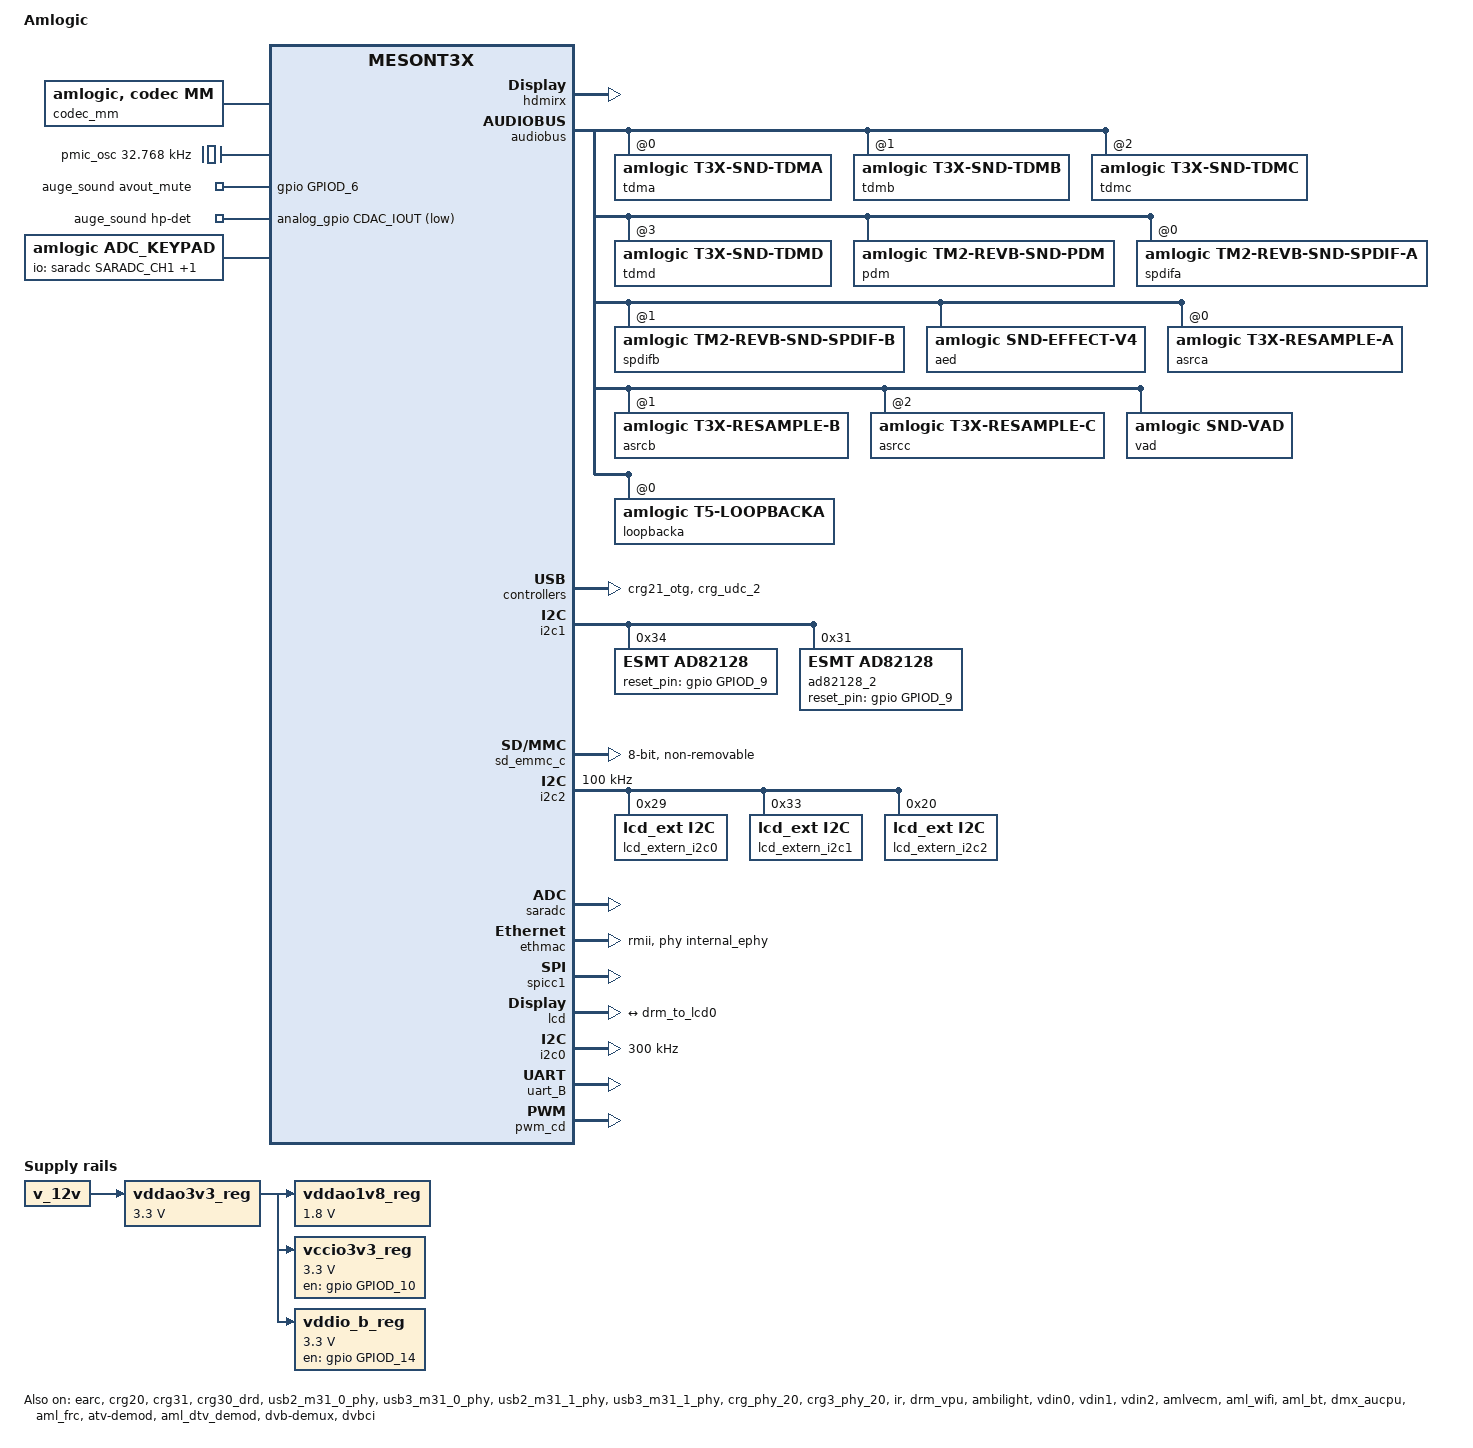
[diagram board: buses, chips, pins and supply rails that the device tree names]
// SPDX-License-Identifier: (GPL-2.0+ OR MIT)
/*
 * Copyright (c) 2019 Amlogic, Inc. All rights reserved.
 */

/dts-v1/;

#include "mesont3x.dtsi"
#include "partition_mbox_ab.dtsi"
#include "mesont3x_drm_multidisplay.dtsi"
#include "mesont3x_bc302_multidisplay-panel.dtsi"
#include <dt-bindings/input/input.h>

/ {
	model = "Amlogic";
	amlogic-dt-id = "t3x_t968d4_bc302-multidisplay";
	compatible = "t3x_t968d4_bc302-multidisplay";
	interrupt-parent = <&gic>;
	#address-cells = <2>;
	#size-cells = <2>;

	aliases {
		serial0 = &uart_B;
		serial1 = &uart_A;
		serial2 = &uart_C;
		serial3 = &uart_D;
		i2c0 = &i2c0;
		i2c1 = &i2c1;
		i2c2 = &i2c2;
		i2c3 = &i2c3;
		i2c4 = &i2c4;
		spi0 = &spifc;
		spi1 = &spicc0;
		spi2 = &spicc1;
		spi3 = &spicc2;
		spi4 = &spicc3;
		spi5 = &spicc4;
		spi6 = &spicc5;
		tsensor0 = &cpu_tsensor;
		tsensor1 = &gpu_tsensor;
		tsensor2 = &vpu_tsensor;
		tsensor3 = &dos_tsensor;
		tsensor4 = &nna_tsensor;
	};

	memory@00000000 {
		device_type = "memory";
		linux,usable-memory = <0x00000000 0x00000000 0x00000000 0xe0000000
					0x00000001 0x00000000 0x00000000 0x20000000>;
	};

	reserved-memory {
		#address-cells = <2>;
		#size-cells = <2>;
		ranges;

		/* global autoconfigured region for contiguous allocations */

		ramdump_bl33z@00000000 {
			reg = <0x0 0x0 0x0 0x1800000>; /* 0 ~ 24M */
			status = "disabled";
		};

		ramoops@0x08400000 {
			compatible = "ramoops";
			reg = <0x0 0x08400000 0x0 0x00100000>;
			record-size = <0x20000>;
			console-size = <0x40000>;
			ftrace-size = <0x80000>;
			pmsg-size = <0x10000>;
			bconsole-size = <0x10000>;
		};

		linux,above_4g_mem {
			compatible = "shared-dma-pool";
			reusable;
			size = <0x0 0x8000000>;
			alignment = <0x0 0x400000>;
			alloc-ranges = <0x1 0x0000000 0x0 0x8000000>;
		};

		dmc_reserved:linux,dmc_monitor {
			compatible = "amlogic,dmc_monitor-reserved";
			reg = <0x0 0x0 0x0 0x80000>;
		};

		debug_reserved:linux,iotrace {
			compatible = "amlogic, iotrace";
			reg = <0x0 0x04f00000 0x0 0x00100000>;
			io-size = <0x1b000>;
			sched-size = <0x2000>;
			irq-size = <0x1000>;
			smc-size = <0x1000>;
			misc-size = <0x1000>;
		};

		secmon_reserved:linux,secmon {
			compatible = "shared-dma-pool";
			/*reusable;*/
			no-map;
			alignment = <0x0 0x400000>;
			reg = <0x0 0x05000000 0x0 0x3400000>;
		};

		dsp_fw_reserved:linux,dsp_fw {
			compatible = "amlogic, dsp";
			size = <0x0 0x800000>;
			reg = <0x0 0x30000000 0x0 0x800000>;
		};

		/*dsp_shm_reserved:linux,dsp_shm {      */
		/*	compatible = "dspshmem";            */
		/*	reg = <0x0 0x40820000 0x0 0x80000>; */
		/*	size = <0x80000>;                   */
		/*};*/

		logo_reserved:linux,meson-fb {
			compatible = "amlogic, meson-fb";
			size = <0x0 0x800000>;
			alignment = <0x0 0x400000>;
			reg = <0x0 0xdf800000 0x0 0x800000>;
		};


		codec_mm_cma:linux,codec_mm_cma {
			compatible = "shared-dma-pool";
			reusable;
			/*Primary + Secondary + PIP based on BDS/ASOP: max scenario need 692MB*/
			size = <0x0 0x2b400000>;
			alignment = <0x0 0x400000>;
			alloc-ranges = <0x0 0x0 0x0 0xe0000000>;
			linux,contiguous-region;
			clear-map;
		};

		/*di CMA pool */
		di_cma_reserved:linux,di_cma {
			compatible = "shared-dma-pool";
			reusable;
			/* buffer_size = 3621952(yuv422 8bit)
			 *  | 4736064(yuv422 10bit)
			 *  | 4074560(yuv422 10bit full pack mode)
			 * 10x3621952=34.6M(0x23) support 8bit
			 * 10x4736064=45.2M(0x2e) support 12bit
			 * 10x4074560=40M(0x28) support 10bit
			 */
			//size = <0x0 0x0>;
			size = <0x0 0x400000>;
			//size = <0x0 0x0>;
			alignment = <0x0 0x400000>;
			alloc-ranges = <0x0 0x0 0x0 0xe0000000>;
		};

		/*  POST PROCESS MANAGER */
		ppmgr_reserved:linux,ppmgr {
			compatible = "shared-dma-pool";
			size = <0x0 0x0>;
		};

		camera_cma_reserved:linux,camera_cma {
			compatible = "shared-dma-pool";
			reusable;
			status = "disabled";
			size = <0x0 0x0>;
			//size = <0x0 0xB000000>;
			alignment = <0x0 0x400000>;
		};

		ion_cma_reserved:linux,ion-dev {
			compatible = "shared-dma-pool";
			reusable;
			size = <0x0 0x0>;
			//size = <0x0 0x5000000>;
			alignment = <0x0 0x400000>;
		};

		ion_fb_reserved:linux,ion-fb {
			compatible = "shared-dma-pool";
			reusable;
			/* 3840x2160x4x4 round up 4M align */
			size = <0x0 0x0>;
			//size = <0x0 0x8400000>;
			alignment = <0x0 0x400000>;
			alloc-ranges = <0x0 0x0 0x0 0xe0000000>;
		};
		/* secure ion for gpu,advice size is 0x1c800000 */
		ion_secure_reserved:linux,ion-secure {
			compatible = "amlogic, ion-secure-mem";
			no-map;
			size = <0x0 0x0>;
			alignment = <0x0 0x400000>;
		};

		/* codec shared reserved */
		codec_mm_reserved:linux,codec_mm_reserved {
			compatible = "amlogic, codec-mm-reserved";
			size = <0x0 0x0>;
			alignment = <0x0 0x100000>;
			//no-map;
		};

		secure_vdec_reserved:linux,secure_vdec_reserved {
			compatible = "amlogic, secure-vdec-reserved";
			no-map;
			size = <0x0 0x1000000>;
			alignment = <0x0 0x100000>;
			alloc-ranges = <0x0 0x0 0x0 0xe0000000>;
		};

		dmaheap_cma_reserved:heap-gfx {
			compatible = "shared-dma-pool";
			reusable;
			/* 4k TV androidT size 4M */
			size = <0x0 0x800000>;
			alignment = <0x0 0x800000>;
		};

		dmaheap_fb_reserved:heap-fb {
			compatible = "shared-dma-pool";
			reusable;
			/* 4k TV android U size 388M(DualDisplay 280M + whiteBoard 108M) */
			size = <0x0 0x18400000>;
			alignment = <0x0 0x18400000>;
			//alloc-ranges = <0x0 0x20000000 0x0 0x03400000>;
		};

		/*  vdin0 CMA pool */
		/*vdin0_cma_reserved:linux,vdin0_cma {*/
		/*	compatible = "shared-dma-pool";*/
		/*	reusable;*/
			/* up to 1920x1080 yuv422 8bit and 5 buffers
			 * 1920x1080x2x5 = 20 M
			 */
		/*	size = <0x0 0x01400000>;*/
		/*	alignment = <0x0 0x400000>;*/
		/*};*/
		/*  vdin1 CMA pool */
		vdin1_cma_reserved:linux,vdin1_cma {
			compatible = "shared-dma-pool";
			reusable;
			/* normally,3840x2160 yuv420 8bit and 4 buffers
			 * 3840x2160x1.5x4 = 48 M
			 */
			size = <0x0 0x3000000>;
			alignment = <0x0 0x400000>;
			alloc-ranges = <0x0 0x0 0x0 0xe0000000>;
		};
		/*  amlvideo2_1 CMA pool */
		amlvideo2_1_cma_reserved:linux,amlvideo2_1_cma {
			compatible = "shared-dma-pool";
			reusable;
			/* 3840x2160 yuv420 8bit and 4 buffers
			 * 3840x2160x1.5x4 = 48 M
			 */
			size = <0x0 0x3000000>;
			alignment = <0x0 0x400000>;
			alloc-ranges = <0x0 0x0 0x0 0xe0000000>;
		};

		mfh_fw_reserved:linux,mfh_fw {
			compatible = "amlogic, aml_mfh_reserve_mem";
			reusable;
			size = <0x0 0x0>;
			//size = <0x0 0x80000>;
			alignment = <0x0 0x80000>;
			alloc-ranges = <0x0 0x41000000 0x0 0x80000>;
		};

		pcie_dma_ops_mm:linux,pcie_dma_ops {
			compatible = "shared-dma-pool";
			reusable;
			status = "disabled";
			size = <0x0 0x5000000>;
			alignment = <0x0 0x400000>;
			alloc-ranges = <0x0 0x0 0x0 0xe0000000>;
		};

		frc_cma_reserved:linux,frc_cma {
			compatible = "shared-dma-pool";
			reusable;
			/* frc:size need 4M alignment
			 * 1080P 16 buffer:88Mhz (0x5800000)
			 * 4k 16 buffer:312Mhz (0x13800000)
			 */
			size = <0x0 0x13800000>;
			alignment = <0x0 0x400000>;
			linux,contiguous-region;
			/*alloc-ranges = <0x0 0x0 0x0 0xB0000000>;*/
		};

		/* ldc_mem_reserved:linux,ldc_mem {
		 *	compatible = "shared-dma-pool";
		 *	reusable;
		 *	size = <0x0 0x400000>;
		 *	alignment = <0x0 0x400000>;
		 *};
		 */
	};

	smmu: aml_smmu {
		compatible = "amlogic,smmu";
		status = "disabled";
		#iommu-cells = <1>;
		memory-region = <&pcie_dma_ops_mm>;
	};

	codec_mm {
		compatible = "amlogic, codec, mm";
		memory-region = <&codec_mm_cma &codec_mm_reserved &secure_vdec_reserved>;
		dev_name = "codec_mm";
		status = "okay";
	};

	cvbsout {
		compatible = "amlogic, cvbsout-sc2";
		status = "disabled";

		/* clk path */
		/* 0:vid_pll vid2_clk */
		/* 1:gp0_pll vid2_clk */
		/* 2:vid_pll vid1_clk */
		/* 3:gp0_pll vid1_clk */
		clk_path = <0>;

		/* performance: reg_address, reg_value */
		/* tm2 */
		performance = <0x1bf0  0x9
			0x1b56  0x333
			0x1b12  0x8080
			0x1b05  0xfd
			0x1c59  0xf850
			0xffff  0x0>; /* ending flag */
		performance_sarft = <0x1bf0  0x9
			0x1b56  0x333
			0x1b12  0x0
			0x1b05  0x9
			0x1c59  0xfc48
			0xffff  0x0>; /* ending flag */
		performance_revB_telecom = <0x1bf0  0x9
			0x1b56  0x546
			0x1b12  0x8080
			0x1b05  0x9
			0x1c59  0xf850
			0xffff  0x0>; /* ending flag */
	};

	multi-di {
		//status = "okay";
		/***************************************************
		 * memory: default is 4
		 *	0:use reserved;
		 *	1:use cma;
		 *	2:use cma as reserved
		 *  4:use codec mem
		 ***************************************************/
		//flag_cma = <4>;//t5d unsupport 4K,di 1CH need 42M
		//memory-region = <&di_cma_reserved>;
		/***************************************************
		 * clock-range: <min max>
		 *	default: <334 334>
		 ***************************************************/
		//clock-range = <334 334>;
		/***************************************************
		 * en_4k: t5d not support 4k
		 ***************************************************/
		en_4k = <1>;
		keep_dec_vf = <2>;
		po_fmt = <6>;
		/***************************************************
		 * post_nub: default is 11 (T7/T3/SC2/S4 new path)
		 * local 7*4075520 = 28
		 * post 11*5222400 = 56
		 ***************************************************/
		post_nub = <17>;
		/***************************************************
		 * 0:not support
		 * bit 0: for 4k
		 * bit 1: for 1080p
		 ***************************************************/
		alloc_sct = <1>;
		/***************************************************
		 * hf: default is 0 (T7/T3/SC2/S4 new path)
		 * 0:not enable;
		 * 1: enable
		 ***************************************************/
		//hf = <1>;
		tb = <0>;
	};

	unifykey{
		compatible = "amlogic,unifykey";
		status = "okay";
		unifykey-num = <29>;
		unifykey-index-0 = <&keysn_0>;
		unifykey-index-1 = <&keysn_1>;
		unifykey-index-2 = <&keysn_2>;
		unifykey-index-3 = <&keysn_3>;
		unifykey-index-4 = <&keysn_4>;
		unifykey-index-5 = <&keysn_5>;
		unifykey-index-6 = <&keysn_6>;
		unifykey-index-7 = <&keysn_7>;
		unifykey-index-8 = <&keysn_8>;
		unifykey-index-9 = <&keysn_9>;
		unifykey-index-10= <&keysn_10>;
		unifykey-index-11= <&keysn_11>;
		unifykey-index-12= <&keysn_12>;
		unifykey-index-13= <&keysn_13>;
		unifykey-index-14= <&keysn_14>;
		unifykey-index-15= <&keysn_15>;
		unifykey-index-16= <&keysn_16>;
		unifykey-index-17= <&keysn_17>;
		unifykey-index-18= <&keysn_18>;
		unifykey-index-19= <&keysn_19>;
		unifykey-index-20= <&keysn_20>;
		unifykey-index-21= <&keysn_21>;
		unifykey-index-22= <&keysn_22>;
		unifykey-index-23= <&keysn_23>;
		unifykey-index-24= <&keysn_24>;
		unifykey-index-25= <&keysn_25>;
		unifykey-index-26= <&keysn_26>;
		unifykey-index-27= <&keysn_27>;
		unifykey-index-28= <&keysn_28>;

		keysn_0: key_0{
			key-name = "usid";
			key-device = "normal";
			key-permit = "read","write","del";
		};
		keysn_1:key_1{
			key-name = "mac";
			key-device = "normal";
			key-permit = "read","write","del";
		};
		keysn_2:key_2{
			key-name = "hdcp";
			key-device = "secure";
			key-type = "sha1";
			key-permit = "read","write","del";
		};
		keysn_3:key_3{
			key-name = "secure_boot_set";
			key-device = "efuse";
			key-permit = "write";
		};
		keysn_4:key_4{
			key-name = "mac_bt";
			key-device = "normal";
			key-permit = "read","write","del";
			key-type  = "mac";
		};
		keysn_5:key_5{
			key-name = "mac_wifi";
			key-device = "normal";
			key-permit = "read","write","del";
			key-type = "mac";
		};
		keysn_6:key_6{
			key-name = "hdcp2_tx";
			key-device = "normal";
			key-permit = "read","write","del";
		};
		keysn_7:key_7{
			key-name = "hdcp2_rx";
			key-device = "normal";
			key-permit = "read","write","del";
		};
		keysn_8:key_8{
			key-name = "widevinekeybox";
			key-device = "secure";
			key-permit = "read","write","del";
		};
		keysn_9:key_9{
			key-name = "deviceid";
			key-device = "normal";
			key-permit = "read","write","del";
		};
		keysn_10:key_10{
			key-name = "hdcp22_fw_private";
			key-device = "secure";
			key-permit = "read","write","del";
		};
		keysn_11:key_11{
			key-name = "PlayReadykeybox25";
			key-device = "secure";
			key-permit = "read","write","del";
		};
		keysn_12:key_12{
			key-name = "prpubkeybox";// PlayReady
			key-device = "secure";
			key-permit = "read","write","del";
		};
		keysn_13:key_13{
			key-name = "prprivkeybox";// PlayReady
			key-device = "secure";
			key-permit = "read","write","del";
		};
		keysn_14:key_14{
			key-name = "attestationkeybox";// attestation key
			key-device = "secure";
			key-permit = "read","write","del";
		};
		keysn_15:key_15{
			key-name = "region_code";
			key-device = "normal";
			key-permit = "read","write","del";
		};
		keysn_16:key_16{
			key-name = "netflix_mgkid";
			key-device = "secure";
			key-permit = "read","write","del";
		};
		keysn_17:key_17{
			key-name = "attestationdevidbox";// attest dev id box
			key-device = "secure";
			key-permit = "read","write","del";
		};
		keysn_18:key_18{
			key-name = "oemkey";
			key-device = "normal";
			key-permit = "read","write","del";
		};
		keysn_19:key_19{
			key-name = "lcd";
			key-device = "normal";
			key-permit = "read","write","del";
		};
		keysn_20:key_20{
			key-name = "lcd_extern";
			key-device = "normal";
			key-permit = "read","write","del";
		};
		keysn_21:key_21{
			key-name = "backlight";
			key-device = "normal";
			key-permit = "read","write","del";
		};
		keysn_22:key_22{
			key-name = "lcd_tcon";
			key-device = "normal";
			key-permit = "read","write","del";
		};
		keysn_23:key_23{
			key-name = "lcd_tcon_spi";
			key-device = "normal";
			key-permit = "read","write","del";
		};
		keysn_24:key_24{
			key-name = "ldim_dev";
			key-device = "normal";
			key-permit = "read","write","del";
		};
		keysn_25:key_25{
			key-name = "lcd1";
			key-device = "normal";
			key-permit = "read","write","del";
		};
		keysn_26:key_26{
			key-name = "lcd1_extern";
			key-device = "normal";
			key-permit = "read","write","del";
		};
		keysn_27:key_27{
			key-name = "backlight1";
			key-device = "normal";
			key-permit = "read","write","del";
		};
		keysn_28:key_28{
			key-name = "lcd_optical";
			key-device = "normal";
			key-permit = "read","write","del";
		};
	};//End unifykey

	pmic_osc: clock-pmic {
		compatible = "fixed-clock";
		#clock-cells = <0>;
		clock-frequency = <32768>;
		clock-output-names = "pmic_osc";
	};

	hdmirx {
		compatible = "amlogic, hdmirx_t3x";
		#address-cells=<1>;
		#size-cells=<1>;
		/*memory-region = <&hdmirx_emp_cma_reserved>;*/
		status = "okay";
		pinctrl-names = "hdmirx_pins";
		pinctrl-0 = <&hdmirx_a_mux &hdmirx_b_mux
			&hdmirx_c_mux &hdmirx_d_mux>;
		repeat = <0>;
		//power-domains = <&pwrdm PDID_T7_HDMIRX>;
		interrupts = <0 156 IRQ_TYPE_LEVEL_HIGH
		0 157 IRQ_TYPE_LEVEL_HIGH
		0 158 IRQ_TYPE_LEVEL_HIGH
		0 159 IRQ_TYPE_LEVEL_HIGH>;
		interrupt-names = "hdmi0_irq", "hdmi1_irq", "hdmi2_irq", "hdmi3_irq";
		clocks =<&clkc CLKID_HDMIRX_CFG>,
			   <&clkc CLKID_HDMIRX_ACR>,
			   <&clkc CLKID_HDMIRX_METER>,
			   <&clkc CLKID_HDMIRX_2M>,
			   <&clkc CLKID_HDMIRX_5M>,
			   <&clkc CLKID_HDMIRX_HDCP>,
			   <&xtal>,
			   <&clkc CLKID_HDMIRX_AXI>,
			   <&clkc CLKID_FCLK_DIV4>,
			   <&clkc CLKID_FCLK_DIV5>;
		clock-names = "hdmirx_cfg_clk",
				"cts_hdmirx_acr_ref_clk",
				"cts_hdmirx_meter_clk",
				"cts_hdmirx_2m_clk",
				"cts_hdmirx_5m_clk",
				"cts_hdmirx_hdcp2x_eclk",
				"xtal",
				"cts_hdmi_axi_clk",
				"fclk_div4",
				"fclk_div5";
		hdmirx_id = <0>;
		en_4k_2_2k = <0>;
		hpd_low_cec_off = <0>;
		arc_port = <2>;
		phy_term_lel_t3x_21 = <0x10>;
		/* bit4: enable feature, bit3~0: port number */
		disable_port = <0x0>;
		/* MAP_ADDR_MODULE_CBUS */
		/* MAP_ADDR_MODULE_HIU */
		/* MAP_ADDR_MODULE_HDMIRX_CAPB3 */
		/* MAP_ADDR_MODULE_SEC_AHB */
		/* MAP_ADDR_MODULE_SEC_AHB2 */
		/* MAP_ADDR_MODULE_APB4 */
		/* MAP_ADDR_MODULE_TOP */
		/* MAP_ADDR_MODULE_CLK_CTRL */
		/* MAP_ADDR_MODULE_ANA_CTRL */
		reg = < 0x0 0x0 0x0 0x0
			0x0 0x0 0x0 0x0
			0x0 0x0 0x0 0x0
			0x0 0x0 0x0 0x0
			0x0 0x0 0x0 0x0
			0x0 0x0 0x0 0x0
			0x0 0xfe390000 0x0 0x20000
			0x0 0xfe000000 0x0 0x15000
			0x0 0xfe008000 0x280 0x334>;
	};

	/* Audio Related start */
	auge_sound {
		compatible = "amlogic, auge-sound-card";
		aml-audio-card,name = "AML-AUGESOUND";

		/*avout mute gpio*/
		avout_mute-gpios = <&gpio GPIOD_6 GPIO_ACTIVE_HIGH>;
		/* headphone insert det */
		aml-audio-card,hp-det-gpio = <&analog_gpio CDAC_IOUT GPIO_ACTIVE_LOW>;
		interrupts = <GIC_SPI 83 IRQ_TYPE_EDGE_RISING>;
		interrupt-names = "audio_exception64";

		status = "okay";

		aml-audio-card,dai-link@0 {
			format = "dsp_a";
			mclk-fs = <512>;
			//continuous-clock;
			//bitclock-inversion;
			//frame-inversion;
			/* master mode */
			bitclock-master = <&tdma>;
			frame-master = <&tdma>;
			/* slave mode */
			/*
			 * bitclock-master = <&tdmacodec>;
			 * frame-master = <&tdmacodec>;
			 */
			/* suffix-name, sync with android audio hal used for */
			suffix-name = "alsaPORT-pcm";
			tdmacpu: cpu {
				sound-dai = <&tdma>;
				dai-tdm-slot-tx-mask =
							<1>;
				dai-tdm-slot-rx-mask =
							<1>;
				dai-tdm-slot-num = <2>;
				dai-tdm-slot-width = <16>;
				system-clock-frequency = <256000>;
			};
			tdmacodec: codec {
				sound-dai = <&dummy_codec>;
			};
		};

		aml-audio-card,dai-link@1 {
			format = "i2s";
			mclk-fs = <256>;
			//continuous-clock;
			//bitclock-inversion;
			//frame-inversion;
			/* master mode */
			bitclock-master = <&tdmb>;
			frame-master = <&tdmb>;
			/* slave mode */
			//bitclock-master = <&tdmbcodec>;
			//frame-master = <&tdmbcodec>;
			/* suffix-name, sync with android audio hal
			 * what's the dai link used for
			 */
			suffix-name = "alsaPORT-i2s-i2s4hdmirx";
			cpu {
				sound-dai = <&tdmb>;
				dai-tdm-slot-tx-mask = <1 1>;
				dai-tdm-slot-rx-mask = <1 1>;
				dai-tdm-slot-num = <2>;
				/*
				 * dai-tdm-slot-tx-mask =
				 *	<1 1 1 1 1 1 1 1>;
				 * dai-tdm-slot-rx-mask =
				 *	<1 1 1 1 1 1 1 1>;
				 * dai-tdm-slot-num = <8>;
				 */
				dai-tdm-slot-width = <32>;
				system-clock-frequency = <12288000>;
			};
			tdmbcodec: codec {
				prefix-names = "AMP","AMP2","AMP3";
				sound-dai = <&ad82128 &ad82128_2 &acodec>;
			};
		};

		aml-audio-card,dai-link@2 {
			format = "i2s";
			mclk-fs = <256>;
			//continuous-clock;
			//bitclock-inversion;
			//frame-inversion;
			/* master mode */
			bitclock-master = <&tdmc>;
			frame-master = <&tdmc>;
			/* slave mode */
			//bitclock-master = <&tdmccodec>;
			//frame-master = <&tdmccodec>;
			/* suffix-name, sync with android audio hal used for */
			suffix-name = "alsaPORT-i2s4parser";
			cpu {
				sound-dai = <&tdmc>;
				dai-tdm-slot-tx-mask = <1 1>;
				dai-tdm-slot-rx-mask = <1 1>;
				dai-tdm-slot-num = <2>;
				dai-tdm-slot-width = <32>;
				system-clock-frequency = <12288000>;
			};
			tdmccodec: codec {
				sound-dai = <&dummy_codec>;
			};
		};
		aml-audio-card,dai-link@3 {
			format = "i2s";
			mclk-fs = <256>;
			//continuous-clock;
			//bitclock-inversion;
			//frame-inversion;
			/* master mode */
			bitclock-master = <&tdmd>;
			frame-master = <&tdmd>;
			/* slave mode */
			/* suffix-name, sync with android audio hal used for */
			suffix-name = "alsaPORT-tdm-d";
			cpu {
				sound-dai = <&tdmd>;
				dai-tdm-slot-tx-mask = <1 1>;
				dai-tdm-slot-rx-mask = <1 1>;
				dai-tdm-slot-num = <2>;
				dai-tdm-slot-width = <32>;
				system-clock-frequency = <12288000>;
			};
			tdmd_codec: codec {
				sound-dai = <&dummy_codec>;
			};
		};
		aml-audio-card,dai-link@4 {
			mclk-fs = <64>;
			/* suffix-name, sync with android audio hal
			 * what's the dai link used for
			 */
			suffix-name = "alsaPORT-pdm-builtinmic";
			cpu {
				sound-dai = <&pdm>;
			};
			codec {
				sound-dai = <&dummy_codec>;
			};
		};
		aml-audio-card,dai-link@5 {
			mclk-fs = <128>;
			continuous-clock;
			/* suffix-name, sync with android audio hal used for */
			suffix-name = "alsaPORT-spdif";
			cpu {
				sound-dai = <&spdifa>;
				system-clock-frequency = <6144000>;
			};
			codec {
				sound-dai = <&dummy_codec>;
			};
		};

		/* spdif_b to hdmi, only playback */
		aml-audio-card,dai-link@6 {
			mclk-fs = <128>;
			continuous-clock;
			/* suffix-name, sync with android audio hal
			 * what's the dai link used for
			 */
			suffix-name = "alsaPORT-spdifb";
			cpu {
				sound-dai = <&spdifb>;
				system-clock-frequency = <6144000>;
			};
			codec {
				sound-dai = <&dummy_codec>;
			};
		};

		aml-audio-card,dai-link@7 {
			mclk-fs = <256>;
			continuous-clock;
			suffix-name = "alsaPORT-loopback";
			cpu {
				sound-dai = <&loopbacka>;
				system-clock-frequency = <12288000>;
			};
			codec {
				sound-dai = <&dummy_codec>;
			};
		};

		aml-audio-card,dai-link@8 {
			mclk-fs = <256>;
			suffix-name = "alsaPORT-tv";
			cpu {
				sound-dai = <&extn>;
				system-clock-frequency = <12288000>;
			};
			codec {
				sound-dai = <&dummy_codec>;
			};
		};
		aml-audio-card,dai-link@9 {
			mclk-fs = <256>;
			suffix-name = "alsaPORT-earc";
			cpu {
				sound-dai = <&earc>;
				system-clock-frequency = <12288000>;
			};
			codec {
				sound-dai = <&dummy_codec>;
			};
		};
	};
	/* Audio Related end */

	picdec {
		compatible = "amlogic, picdec";
		status = "okay";
	};

	amdolby_vision {
		compatible = "amlogic, dolby_vision_t3x";
		dev_name = "aml_amdolby_vision_driver";
		status = "okay";
		tv_mode = <1>;/*1:enable ;0:disable*/
		multi_core1 = <0>;
		interrupts = <GIC_SPI 107 IRQ_TYPE_EDGE_RISING>;
		interrupt-names = "viu1_dolby_int";
	};

	aml_frc {
		compatible = "amlogic, t3x_frc";
		dev_name = "aml_frc";
		status = "okay";
		frc_en = <1>;/*1:enable ;0:disable*/
		frc_hw_pos = <0>;/*0:before postblend; 1:after postblend*/
		interrupts = <GIC_SPI 323 IRQ_TYPE_EDGE_RISING
				GIC_SPI 324 IRQ_TYPE_EDGE_RISING
				GIC_SPI 322 IRQ_TYPE_EDGE_RISING
				GIC_SPI 320 IRQ_TYPE_EDGE_RISING>;
		interrupt-names = "irq_frc_in", "irq_frc_out", "irq_axi_crash", "irq_frc_rdma";
		memory-region = <&frc_cma_reserved>;
		clocks = <&clkc CLKID_FRC>, <&clkc CLKID_ME>;
		clock-names = "clk_frc", "clk_me";
		power-domains = <&pwrdm PDID_T3X_FRC_TOP>;
		power-domain-names = "frc-top";
		reg = <0x0 0xFF850000 0x0 0x30000 /*frc reg*/
		       0x0 0xFE000000 0x0 0x300
		       0x0 0xFF000000 0x0 0x10000>; /*frc clk reg*/
		reg-names = "frc_reg","frc_clk_reg","vpu_reg";
	};

	/* SMC */
	smartcard {
		compatible = "amlogic,smartcard-sc2";
		dev_name = "smartcard";
		status = "disabled";

		reg = <0x0 0xfe000000 0x0 0x480000>;
		irq_trigger_type = "GPIO_IRQ_LOW";

		reset_pin-gpios = <&gpio GPIOZ_3 GPIO_ACTIVE_HIGH>;
		detect_pin-gpios = <&gpio GPIOM_27 GPIO_ACTIVE_HIGH>;
		enable_5v3v_pin-gpios = <&gpio GPIOM_28 GPIO_ACTIVE_HIGH>;
		enable_pin-gpios = <&gpio GPIOZ_2 GPIO_ACTIVE_HIGH>;

		interrupts = <0 81 1>;
		interrupt-names = "smc0_irq";
		/*
		 *Smc clock source, if change this,
		 *you must adjust clk and divider in smartcard.c
		 */
		smc0_clock_source = <0>;
		/*0: high voltage on detect pin indicates card in.*/
		smc0_det_invert = <0>;
		smc0_5v3v_level = <0>;
		/*Ordinarily,smartcard controller needs a enable pin.*/
		smc_need_enable_pin = "yes";
		reset_level = <0>;
		smc0_enable_level = <0>;

		pinctrl-names = "default";
		pinctrl-0 = <&sd_iso7816_pins>;
		clocks = <&clkc CLKID_SYS_CLK_SMARTCARD>;
		clock-names = "smartcard";
	};

	atv-demod {
		compatible = "amlogic, atv-demod";
		status = "okay";
		btsc_sap_mode = <1>;
		interrupts = <0 93 1>;
		pinctrl-names="atvdemod_agc_pins";
		pinctrl-0=<&atvdemod_agc_pins>;
		reg = <0x0 0xfe062000 0x0 0x2000    // demod reg
				0x0 0xfe000000 0x0 0x2000   // hiu reg
				0x0 0x0 0x0 0x0             // periphs reg
				0x0 0xfe04e000 0x0 0x2000>; // adec reg
		common_agc = <1>;
	};

	aml_dtv_demod {
		compatible = "amlogic, ddemod-t3x";
		dev_name = "aml_dtv_demod";
		status = "okay";
		diseqc_name = "sgm_41286";
		pinctrl-names="if_agc_pins", "diseqc_out", "rf_agc_pins";
		pinctrl-0=<&dtvdemod_if_agc_pins>;
		pinctrl-1=<&diseqc_out>;
		pinctrl-2=<&dtvdemod_rf_agc_pins>;
		//pinctrl-3=<&diseqc_in>;
		lnb_en-gpios = <&gpio GPIOZ_2 GPIO_ACTIVE_HIGH>;
		lnb_sel-gpios = <&gpio GPIOZ_3 GPIO_ACTIVE_HIGH>;
		interrupts = <GIC_SPI 91 IRQ_TYPE_EDGE_RISING>;
		interrupt-names = "demod_isr";
		power-domains = <&pwrdm PDID_T3X_DEMOD>;
		clocks = <&clkc CLKID_DEMOD_32K>;
		clock-names = "demod_32k";
		reg = <0x0 0xfe360000 0x0 0x10000	//dtv demod base
			   0x0 0xfe000000 0x0 0x2000	//hiu reg base
			   0x0 0xff800000 0x0 0x1000	//io_aobus_base
			   0x0 0xfe002000 0x0 0x2000>;	//reset

		spectrum = <1>;
		cma_mem_size = <16>; // MB
	};

	dvb-extern {
		compatible = "amlogic, dvb-extern";
		dev_name = "dvb-extern";
		status = "okay";

		fe_num = <1>;
		fe0_demod = "internal";

		tuner_num = <2>; // tuner number, multi tuner support
		tuner0_name = "r842_tuner";
		tuner0_i2c_adap = <&i2c0>;
		tuner0_i2c_addr = <0xF6>; // 8 bits
		tuner0_xtal = <1>;       // 0: 16MHz, 1: 24MHz
		tuner0_xtal_mode = <0>;  // NO_SHARE_XTAL(0), SLAVE_XTAL_SHARE(3)
		tuner0_xtal_cap = <20>;

		tuner1_name = "rt710_tuner";
		tuner1_i2c_adap = <&i2c0>;
		tuner1_i2c_addr = <0xF4>; // 8 bits
		tuner1_xtal = <0>;       // 0: 16MHz, 1: 24MHz
		tuner1_xtal_mode = <0>;  // NO_SHARE_XTAL(0), SLAVE_XTAL_SHARE(3)
		tuner1_xtal_cap = <30>;
	};

	dvb-demux {
		compatible = "amlogic sc2, dvb-demux";
		dev_name = "dvb-demux";
		status = "okay";

		reg = <0x0 0xfe000000 0x0 0x480000>;

		dmxdev_num = <0x11>;

		tsn_from = "demod";
		ts_clone = <0x0>;
		/*single demod setting */
		ts1_sid = <0x21>;
		ts1 = "parallel";
		ts1_control = <0x0>;
		ts1_invert = <0>;

		pinctrl-names = "p_ts1";
		pinctrl-0 = <&dvb_p_ts1_pins>;

		ts3_sid = <0x23>;
		ts3 = "parallel"; /* tsind: parallel */
		ts3_control = <0x0>;
		ts3_invert = <0>;

	};

	dvbci {
		compatible = "amlogic, dvbci";
		dev_name = "dvbci";
		status = "okay";
		io_type = <4>; /* 0=iobus,1=spi,2=cimax,3=spi-t312 4:T5D,ci bus*/
		addr_ts_mode_multiplex = <0>; /*AY301 not multi ts and addr,default 1*/
		le_enable_level = <0>; /*LE pin enable level*/
		/*gpio pin define*/
		pinctrl-names= "ci_ts_pins";
		pinctrl-0=<&dvb_ci_bus_pins_all &ci_ts_pins &ci_ts_clk_pins>;
		reg = <0x0 0xFE04A000 0x0 0x1FFF>;
		/*irq define dvbci not use irq now*/
		interrupts = <0 150 1
				0 151 1>;
		interrupt-names = "irq_cmp",
				  "irq_timeout";

		dvbci_io {
			/*gpio define  GPIOM_27 GPIOM_28 GPIOM_30*/
			cd_pin1 = <&gpio       GPIOM_27       GPIO_ACTIVE_HIGH>;
			pwr_pin = <&gpio       GPIOM_28       GPIO_ACTIVE_HIGH>;
			le_pin = <&gpio        GPIOM_29       GPIO_ACTIVE_HIGH>;
		};
	};

	ppmgr {
		compatible = "amlogic, ppmgr";
		memory-region = <&ppmgr_reserved>;
		dev_name = "ppmgr";
		status = "okay";
	};

	video_queue {
		compatible = "amlogic, video_queue";
		dev_name = "videoqueue";
		status = "okay";
	};

	ionvideo {
		compatible = "amlogic, ionvideo";
		dev_name = "ionvideo";
		status = "okay";
	};

	amlvideo2_0 {
		compatible = "amlogic, amlvideo2";
		dev_name = "amlvideo2";
		status = "okay";
		amlvideo2_id = <0>;
		cma_mode = <1>;
	};

	amlvideo2_1 {
		compatible = "amlogic, amlvideo2";
		dev_name = "amlvideo2";
		memory-region = <&amlvideo2_1_cma_reserved>;
		status = "okay";
		amlvideo2_id = <1>;
		cma_mode = <0>;
		support_4k = <1>;
	};

	adc_keypad {
		compatible = "amlogic, adc_keypad";
		status = "okay";
		key_name = "power", "vol-", "vol+", "ok", "menu", "source", "exit";
		key_num = <7>;
		io-channels = <&saradc SARADC_CH1>, <&saradc SARADC_CH2>;
		io-channel-names = "key-chan-1", "key-chan-2";
		key_chan = <SARADC_CH1 SARADC_CH1 SARADC_CH1 SARADC_CH1 SARADC_CH1
			    SARADC_CH2 SARADC_CH2>;
		key_code = <KEY_POWER KEY_VOLUMEDOWN KEY_VOLUMEUP KEY_ENTER KEY_MENU
			    KEY_FN_F1 KEY_EXIT>;
		/* key_val = voltage / 1800mV * 1023 */
		key_val = <0 143 266 389 507 143 266>;
		key_tolerance = <40 40 40 40 40 40 40>;
	};

	vddao3v3_reg: fixed@vddao3v3_reg {
		vin-supply = <&v_12v>;
		compatible = "regulator-fixed";
		regulator-name = "VDDAO_3.3V";
		regulator-min-microvolt = <3300000>;
		regulator-max-microvolt = <3300000>;
		regulator-boot-on;
		regulator-always-on;
	};

	vddao1v8_reg: fixed@vddao1v8_reg {
		compatible = "regulator-fixed";
		vin-supply = <&vddao3v3_reg>;
		regulator-name = "VDDAO_1.8V";
		regulator-min-microvolt = <1800000>;
		regulator-max-microvolt = <1800000>;
		regulator-boot-on;
		regulator-always-on;
	};

	vccio3v3_reg: fixed@vccio3v3_reg {
		vin-supply = <&vddao3v3_reg>;
		compatible = "regulator-fixed";
		regulator-name = "VDDIO_3.3V";
		regulator-min-microvolt = <3300000>;
		regulator-max-microvolt = <3300000>;
		pinctrl-names = "default";
		gpio = <&gpio GPIOD_10 GPIO_ACTIVE_HIGH>;
		startup-delay-us = <70000>;
		enable-active-high;
		regulator-boot-on;
		regulator-always-on;
	};

	vddio_b_reg: fixed@vddio_b_reg {
		vin-supply = <&vddao3v3_reg>;
		compatible = "regulator-fixed";
		regulator-name = "VDDIO_B";
		regulator-min-microvolt = <3300000>;
		regulator-max-microvolt = <3300000>;
		pinctrl-names = "default";
		gpio = <&gpio GPIOD_14 GPIO_ACTIVE_HIGH>;
		startup-delay-us = <70000>;
		enable-active-high;
		regulator-boot-on;
		regulator-always-on;
	};
};

&audiobus {
	tdma:tdm@0 {
		compatible = "amlogic, t3x-snd-tdma";
		#sound-dai-cells = <0>;

		dai-tdm-lane-slot-mask-in = <1 0>;
		dai-tdm-lane-slot-mask-out = <1 1>;
		dai-tdm-clk-sel = <0>;

		clocks = <&clkaudio CLKID_AUDIO_MCLK_A
				&clkc CLKID_HIFI_PLL
				&clkc CLKID_HIFI1_PLL>;
		clock-names = "mclk", "clk_srcpll", "clk_src_cd";
		src-clk-freq = <491520000>;
		/* enable control gain */
		ctrl_gain = <1>;
		status = "okay";
	};

	tdmb:tdm@1 {
		compatible = "amlogic, t3x-snd-tdmb";
		#sound-dai-cells = <0>;

		dai-tdm-lane-slot-mask-in = <1 1 1 1>;
		dai-tdm-lane-slot-mask-out = <1 1 1 1>;
		dai-tdm-clk-sel = <1>;

		clocks = <&clkaudio CLKID_AUDIO_MCLK_B
				&clkc CLKID_HIFI_PLL
				&clkc CLKID_HIFI1_PLL>;
		clock-names = "mclk", "clk_srcpll", "clk_src_cd";

		pinctrl-names = "tdm_pins","tdmout_a_gpio";
		pinctrl-0 =
			<&tdm_b_pins
			&tdm_d0_pins
			&tdmb_clk_pins>;
		pinctrl-1 = <&tdmout_a_gpio>;
		/*
		 * 0: tdmout_a;
		 * 1: tdmout_b;
		 * 2: tdmout_c;
		 * 3: spdifout;
		 * 4: spdifout_b;
		 */
		samesource_sel = <3>;
		/* In for ACODEC_ADC */
		/* tdmin-src-name = "acodec_adc"; */
		tdmin-src-name = "hdmirx_b";
		/*enable default mclk(12.288M), before extern codec start*/
		start_clk_enable = <1>;

		/*tdm clk tuning enable*/
		clk_tuning_enable = <1>;

		/* enable control gain */
		ctrl_gain = <1>;
		src-clk-freq = <491520000>;

		/* pcpd_monitor*/
		pcpd_monitor_src = <&pcpd_monitor_a>;
		status = "okay";
		suspend-clk-off = <1>;
		/* !!!For --TV platform-- ONLY */
		Channel_Mask {
			/*i2s has 4 pins, 8channel, mux output*/
			Spdif_samesource_Channel_Mask = "i2s_2/3";
		};
	};

	tdmc:tdm@2 {
		compatible = "amlogic, t3x-snd-tdmc";
		#sound-dai-cells = <0>;

		dai-tdm-lane-slot-mask-in = <1 1 1 1>;
		dai-tdm-lane-slot-mask-out = <1 0 0 0>;
		dai-tdm-clk-sel = <2>;

		clocks = <&clkaudio CLKID_AUDIO_MCLK_C
				&clkc CLKID_HIFI_PLL
				&clkc CLKID_HIFI1_PLL>;
		clock-names = "mclk", "clk_srcpll", "clk_src_cd";
		src-clk-freq = <491520000>;
		/* enable control gain */
		tdmin-src-name = "hdmirx_b";
		ctrl_gain = <1>;
		status = "okay";
	};

	tdmd:tdm@3 {
		compatible = "amlogic, t3x-snd-tdmd";
		#sound-dai-cells = <0>;

		dai-tdm-lane-slot-mask-in = <1 0 0 0>;
		dai-tdm-lane-slot-mask-out = <1 1 1 1>;
		dai-tdm-clk-sel = <3>;

		clocks = <&clkaudio CLKID_AUDIO_GATE_TDMIND
				&clkaudio CLKID_AUDIO_GATE_TDMOUTD
				&clkaudio CLKID_AUDIO_MCLK_D
				&clkaudio CLKID_AUDIO_MCLK_PAD3
				&clkc CLKID_HIFI_PLL
				&clkc CLKID_HIFI1_PLL>;
		clock-names = "gate_in", "gate_out", "mclk",
					"mclk_pad", "clk_srcpll", "clk_src_cd";
		suspend-clk-off = <1>;
		src-clk-freq = <491520000>;
		status = "okay";
	};

	pdm:pdm {
		compatible = "amlogic, tm2-revb-snd-pdm";
		#sound-dai-cells = <0>;

		clocks = <&clkaudio CLKID_AUDIO_GATE_PDM
			&clkc CLKID_FCLK_DIV3
			&clkc CLKID_HIFI_PLL
			&clkc CLKID_HIFI1_PLL
			&clkaudio CLKID_AUDIO_PDMIN0
			&clkaudio CLKID_AUDIO_PDMIN1>;
		clock-names = "gate",
			"sysclk_srcpll",
			"dclk_srcpll",
			"clk_src_cd",
			"pdm_dclk",
			"pdm_sysclk";
		pinctrl-names = "pdm_pins";
		pinctrl-0 = <&pdmin>;
		src-clk-freq = <491520000>;
		train_sample_count = <10>;

		/* mode 0~4, defalut:1 */
		filter_mode = <1>;

		status = "okay";
	};

	spdifa:spdif@0 {
		compatible = "amlogic, tm2-revb-snd-spdif-a";
		#sound-dai-cells = <0>;

		clocks = <&clkc CLKID_HIFI_PLL
				&clkc CLKID_HIFI1_PLL
				&clkc CLKID_FCLK_DIV4
				&clkaudio CLKID_AUDIO_GATE_SPDIFIN
				&clkaudio CLKID_AUDIO_GATE_SPDIFOUT_A
				&clkaudio CLKID_AUDIO_SPDIFIN
				&clkaudio CLKID_AUDIO_SPDIFOUT_A>;
		clock-names = "sysclk", "clk_src_cd", "fixed_clk", "gate_spdifin",
				"gate_spdifout", "clk_spdifin", "clk_spdifout";

		interrupts =
				<GIC_SPI 35 IRQ_TYPE_EDGE_RISING>;
		interrupt-names = "irq_spdifin";
		pinctrl-names = "spdif_pins",
			"spdif_pins_mute";
		pinctrl-0 = <&spdif_out_a_z19_pins>;
		pinctrl-1 = <&spdifout_a_mute_pins>;
		/*
		 * 0: tdmout_a;
		 * 1: tdmout_b;
		 * 2: tdmout_c;
		 * 3: spdifout;
		 * 4: spdifout_b;
		 * 5: earc;
		 */

		samesource_sel = <5>;

		/*spdif clk tuning enable*/
		clk_tuning_enable = <1>;
		src-clk-freq = <491520000>;
		suspend-clk-off = <1>;
		status = "okay";
	};

	spdifb:spdif@1 {
		compatible = "amlogic, tm2-revb-snd-spdif-b";
		#sound-dai-cells = <0>;

		clocks = <&clkc CLKID_HIFI_PLL /*CLKID_HIFI_PLL*/
				&clkc CLKID_HIFI1_PLL
				&clkaudio CLKID_AUDIO_GATE_SPDIFOUT_B
				&clkaudio CLKID_AUDIO_SPDIFOUT_B>;
		clock-names = "sysclk", "clk_src_cd",
				"gate_spdifout", "clk_spdifout";
		src-clk-freq = <491520000>;
		suspend-clk-off = <1>;
		status = "okay";
	};

	aed:effect {
		compatible = "amlogic, snd-effect-v4";
		#sound-dai-cells = <0>;

		clocks = <&clkaudio CLKID_AUDIO_GATE_EQDRC
			&clkc CLKID_FCLK_DIV5
			&clkaudio CLKID_AUDIO_EQDRC>;
		clock-names = "gate", "srcpll", "eqdrc";

		/*
		 * 0:tdmout_a
		 * 1:tdmout_b
		 * 2:tdmout_c
		 * 3:spdifout
		 * 4:spdifout_b
		 */
		eqdrc_module = <1>;
		/* max 0xf, each bit for one lane, usually one lane */
		lane_mask = <0x1>;
		/* max 0xff, each bit for one channel */
		channel_mask = <0xff>;
		suspend-clk-off = <1>;
		status = "okay";
	};

	asrca: resample@0 {
		compatible = "amlogic, t3x-resample-a";
		clocks = <&clkc CLKID_HIFI_PLL
			&clkc CLKID_HIFI1_PLL
			&clkaudio CLKID_AUDIO_MCLK_B
			&clkaudio CLKID_AUDIO_RESAMPLE_A>;
		clock-names = "resample_pll", "clk_src_cd", "resample_src", "resample_clk";

		/*same with toddr_src
		 *	TDMIN_A,    0
		 *	TDMIN_B,    1
		 *	TDMIN_C,    2
		 *	SPDIFIN,    3
		 *	PDMIN,      4
		 *	FRATV,      5
		 *	TDMIN_LB,   6
		 *	LOOPBACK_A, 7
		 *	FRHDMIRX,   8
		 *	LOOPBACK_B, 9
		 *	SPDIFIN_LB, 10
		 *	EARC_RX,    11
		 */
		src-clk-freq = <491520000>;
		resample_module = <8>;
		suspend-clk-off = <1>;
		status = "okay";
	};

	asrcb: resample@1 {
		compatible = "amlogic, t3x-resample-b";
		clocks = <&clkc CLKID_HIFI_PLL
			&clkc CLKID_HIFI1_PLL
			&clkaudio CLKID_AUDIO_MCLK_F
			&clkaudio CLKID_AUDIO_RESAMPLE_B>;
		clock-names = "resample_pll", "clk_src_cd", "resample_src", "resample_clk";
		src-clk-freq = <491520000>;

		/*this resample is only used for loopback_A.*/
		suspend-clk-off = <1>;
		status = "okay";
	};

	asrcc: resample@2 {
		compatible = "amlogic, t3x-resample-c";
		clocks = <&clkc CLKID_HIFI_PLL
			&clkc CLKID_HIFI1_PLL
			&clkaudio CLKID_AUDIO_MCLK_B
			&clkaudio CLKID_AUDIO_RESAMPLE_C>;
		clock-names = "resample_pll", "clk_src_cd", "resample_src", "resample_clk";

		/*same with toddr_src
		 *	TDMIN_A,    0
		 *	TDMIN_B,    1
		 *	TDMIN_C,    2
		 *	SPDIFIN,    3
		 *	PDMIN,      4
		 *	FRATV,      5
		 *	TDMIN_LB,   6
		 *	LOOPBACK_A, 7
		 *	FRHDMIRX,   8
		 *	LOOPBACK_B, 9
		 *	SPDIFIN_LB, 10
		 *	EARC_RX,    11
		 */
		src-clk-freq = <491520000>;
		resample_module = <8>;
		suspend-clk-off = <1>;
		status = "okay";
	};

	vad:vad {
		compatible = "amlogic, snd-vad";
		#sound-dai-cells = <0>;

		clocks = <&clkaudio CLKID_AUDIO_GATE_TOVAD
			&clkc CLKID_FCLK_DIV5
			&clkaudio CLKID_AUDIO_VAD>;
		clock-names = "gate", "pll", "clk";

		interrupts = <GIC_SPI 39 IRQ_TYPE_EDGE_RISING
				GIC_SPI 44 IRQ_TYPE_EDGE_RISING>;
		interrupt-names = "irq_wakeup", "irq_frame_sync";

		/*
		 * Data src sel:
		 * 0: tdmin_a;
		 * 1: tdmin_b;
		 * 2: tdmin_c;
		 * 3: spdifin;
		 * 4: pdmin;
		 * 5: loopback_b;
		 * 6: tdmin_lb;
		 * 7: loopback_a;
		 */
		src = <4>;

		/*
		 * deal with hot word in user space or kernel space
		 * 0: in user space
		 * 1: in kernel space
		 */
		level = <1>;

		mic-src = <&pdm>;
		wakeup_sample_rate = <16000>;

		status = "okay";
	};

	loopbacka:loopback@0 {
		compatible = "amlogic, t5-loopbacka";
		#sound-dai-cells = <0>;

		clocks = <&clkaudio CLKID_AUDIO_GATE_PDM
			&clkc CLKID_FCLK_DIV3
			&clkc CLKID_HIFI_PLL
			&clkaudio CLKID_AUDIO_PDMIN0
			&clkaudio CLKID_AUDIO_PDMIN1
			&clkc CLKID_HIFI_PLL
			&clkaudio CLKID_AUDIO_MCLK_A>;
		clock-names = "pdm_gate",
			"pdm_sysclk_srcpll",
			"pdm_dclk_srcpll",
			"pdm_dclk",
			"pdm_sysclk",
			"tdminlb_mpll",
			"tdminlb_mclk";

		/* datain src
		 * 0: tdmin_a;
		 * 1: tdmin_b;
		 * 2: tdmin_c;
		 * 3: spdifin;
		 * 4: pdmin;
		 */
		datain_src = <4>;
		datain_chnum = <4>;
		datain_chmask = <0xf>;
		/* config which data pin for loopback */
		datain-lane-mask-in = <1 1 0 0>;

		/* calc mclk for datalb */
		mclk-fs = <256>;
		src-clk-freq = <491520000>;
		/* tdmin_lb src
		 * 0: tdmoutA
		 * 1: tdmoutB
		 * 2: tdmoutC
		 * 3: PAD_TDMINA_DIN*, refer to core pinmux
		 * 4: PAD_TDMINB_DIN*, refer to core pinmux
		 * 5: PAD_TDMINC_DIN*, refer to core pinmux
		 * 6: PAD_TDMINA_D*, oe, refer to core pinmux
		 * 7: PAD_TDMINB_D*, oe, refer to core pinmux
		 */
		/* if tdmin_lb >= 3, use external loopback */
		datalb_src = <1>;
		datalb_chnum = <2>;
		datalb_chmask = <0x3>;
		/* config which data pin as loopback */
		datalb-lane-mask-in = <1 0 0 0>;

		/* define loopack with pdm mic. */
		mic-src = <&pdm>;
		suspend-clk-off = <1>;
		status = "okay";
	};

	loopbackb:loopback@1 {
		compatible = "amlogic, t5-loopbackb";
		#sound-dai-cells = <0>;

		clocks = <&clkaudio CLKID_AUDIO_GATE_PDM
			&clkc CLKID_FCLK_DIV3
			&clkc CLKID_HIFI_PLL
			&clkaudio CLKID_AUDIO_PDMIN0
			&clkaudio CLKID_AUDIO_PDMIN1
			&clkc CLKID_HIFI_PLL
			&clkaudio CLKID_AUDIO_MCLK_A>;
		clock-names = "pdm_gate",
			"pdm_sysclk_srcpll",
			"pdm_dclk_srcpll",
			"pdm_dclk",
			"pdm_sysclk",
			"tdminlb_mpll",
			"tdminlb_mclk";

		/* calc mclk for datain_lb */
		mclk-fs = <256>;

		/* datain src
		 * 0: tdmin_a;
		 * 1: tdmin_b;
		 * 2: tdmin_c;
		 * 3: spdifin;
		 * 4: pdmin;
		 */
		datain_src = <4>;
		datain_chnum = <4>;
		datain_chmask = <0xf>;
		/* config which data pin for loopback */
		datain-lane-mask-in = <1 0 1 0>;

		/* tdmin_lb src
		 * 0: tdmoutA
		 * 1: tdmoutB
		 * 2: tdmoutC
		 * 3: PAD_TDMINA_DIN*, refer to core pinmux
		 * 4: PAD_TDMINB_DIN*, refer to core pinmux
		 * 5: PAD_TDMINC_DIN*, refer to core pinmux
		 * 6: PAD_TDMINA_D*, oe, refer to core pinmux
		 * 7: PAD_TDMINB_D*, oe, refer to core pinmux
		 */
		/* if tdmin_lb >= 3, use external loopback */
		datalb_src = <1>;
		datalb_chnum = <2>;
		datalb_chmask = <0x3>;
		/* config which data pin as loopback */
		datalb-lane-mask-in = <1 0 0 0>;
		suspend-clk-off = <1>;
		status = "disabled";
	};
}; /* end of audiobus */

&earc {
	suspend-clk-off = <1>;
	status = "okay";
};

&crg21_otg {
	status = "okay";
	controller-type = <1>;
};

&crg20 {
	compatible = "amlogic, crg-host-drd";
	status = "okay";
};

&crg31 {
	compatible = "amlogic, crg-host-drd";
	status = "okay";
};

&crg30_drd {
	compatible = "amlogic, crg-drd";
	status = "okay";
};

&usb2_m31_0_phy {
	status = "okay";
};

&usb3_m31_0_phy {
	status = "okay";
	portnum = <1>;
};

&usb2_m31_1_phy {
	status = "okay";
};

&usb3_m31_1_phy {
	status = "okay";
	portnum = <0>;
};

&crg_phy_20 {
	status = "okay";
	portnum = <2>;
};

&crg3_phy_20 {
	status = "okay";
	portnum = <0>;
};

&crg_udc_2 {
	status = "okay";
	controller-type = <4>;
};

&pcie {
	reset-gpio = <&gpio GPIOP_4 GPIO_ACTIVE_HIGH>;
	iommu-map = <0x100 &smmu 0x5 0x10>;
	status = "disabled";
};

&dcon_led {
	pinctrl-names = "default";
	led_number = <13>;
	pinctrl-0 = <&dcon_led_pins3>;
	status = "disabled";
};

&i2c4 {
	clock-frequency = <400000>;
	pinctrl-names = "default";
	pinctrl-0 = <&i2c4_pins1>;
	status = "disabled";
	#address-cells = <1>;
	#size-cells = <0>;
};

&i2c1 {
	status = "okay";
	pinctrl-names="default";
	pinctrl-0=<&i2c1_pins1>;
	ad82128: ad82128@34 {
		compatible = "ESMT,ad82128";
		#sound-dai-cells = <0>;
		reset_pin = <&gpio GPIOD_9 GPIO_ACTIVE_HIGH>;
		reg = <0x34>;
		status = "okay";
	};
	ad82128_2: ad82128@31 {
	    compatible = "ESMT,ad82128";
	    #sound-dai-cells = <0>;
	    reset_pin = <&gpio GPIOD_9 GPIO_ACTIVE_HIGH>;
	    reg = <0x31>;
	    subwoofer-enable = <1>;
	    status = "okay";
	};
};

&CPU0 {
	operating-points-v2 = <&a55_single_opp_table0>,
				<&a55_single_opp_table1>,
				<&a55_single_opp_table2>,
				<&a55_single_opp_table3>;
};

&CPU1 {
	operating-points-v2 = <&a55_single_opp_table0>,
				<&a55_single_opp_table1>,
				<&a55_single_opp_table2>,
				<&a55_single_opp_table3>;
};

&CPU2 {
	operating-points-v2 = <&a55_single_opp_table0>,
				<&a55_single_opp_table1>,
				<&a55_single_opp_table2>,
				<&a55_single_opp_table3>;
};

&CPU3 {
	operating-points-v2 = <&a76_single_opp_table0>,
				<&a76_single_opp_table1>,
				<&a76_single_opp_table2>,
				<&a76_single_opp_table3>;
};

&CPU4 {
	operating-points-v2 = <&a76_single_opp_table0>,
				<&a76_single_opp_table1>,
				<&a76_single_opp_table2>,
				<&a76_single_opp_table3>;
};

&vdac {
	cdac_disable = <1>;
};

&csiphy2 {
	port {
		csiphy2_ep: endpoint {
		clock-lanes = <1>;
		data-lanes = <0 1>;
		//remote-endpoint = <&ov9285_2_ep>;
		};
	};
};

&isp2 {
	memory-region = <&camera_cma_reserved>;
};

&csiphy3 {
	port {
		csiphy3_ep: endpoint {
		clock-lanes = <1>;
		data-lanes = <3 4>;
		//remote-endpoint = <&ov9285_3_ep>;
		};
	};
};

&isp3 {
	memory-region = <&camera_cma_reserved>;
};

/* SDIO */
/* ref board pcie wifi */
&sd_emmc_a {
	status = "disabled";
	pinctrl-0 = <&sdio_pins>;
	pinctrl-1 = <&sdio_clk_gate_pins>;
	pinctrl-names = "default", "clk-gate";
	#address-cells = <1>;
	#size-cells = <0>;

	bus-width = <4>;
	cap-sd-highspeed;
	sd-uhs-sdr50;
	sd-uhs-sdr104;
	max-frequency = <200000000>;

	non-removable;
	disable-wp;

	//vmmc-supply = <&sdcard_3v3>;
	//vqmmc-supply = <&vddio_c>;

	brcmf: wifi@1 {
		reg = <1>;
		compatible = "brcm,bcm4329-fmac";
	};
};

/* SD card */
&sd_emmc_b {
	status = "disable";
	pinctrl-0 = <&sdcard_pins>;
	pinctrl-1 = <&sdcard_clk_gate_pins>;
	pinctrl-2 = <&sd_1bit_pins>;
	//pinctrl-3 = <&sd_to_ao_uart_clr_pins
	//	&sdcard_pins &ao_to_sd_uart_pins>;
	//pinctrl-4 = <&sd_to_ao_uart_clr_pins
	//	&sd_1bit_pins &ao_to_sd_uart_pins>;
	//pinctrl-5 = <&sdcard_pins &ao_uart_pins>;
	//pinctrl-6 = <&sd_to_ao_uart_clr_pins
	//	&ao_to_sd_uart_pins>;
	//pinctrl-7 = <&sdcard_pins &ao_uart_pins>;
	//pinctrl-8 = <&sd_to_ao_uart_clr_pins
	//	&ao_to_sd_uart_pins>;
	pinctrl-names = "sd_default",
			"clk-gate",
			"sd_1bit_pins";
	//		"sd_clk_cmd_uart_pins",
	//		"sd_1bit_uart_pins",
	//		"sd_to_ao_uart_pins",
	//		"ao_to_sd_uart_pins",
	//		"sd_to_ao_jtag_pins",
	//		"ao_to_sd_jtag_pins";
	bus-width = <4>;
	cap-sd-highspeed;
	//sd-uhs-sdr12;
	//sd-uhs-sdr25;
	//sd-uhs-sdr50;
	//sd-uhs-sdr104;
	max-frequency = <200000000>;
	disable-wp;

	cd-gpios = <&gpio GPIOC_10 GPIO_ACTIVE_HIGH>;
	//dat1-gpios = <&gpio GPIOC_1 GPIO_ACTIVE_HIGH>;
	//vmmc-supply = <&sdcard_3v3>;
	//vqmmc-supply = <&vddio_c>;
};

&sd_emmc_c {
	status = "okay";
	pinctrl-0 = <&emmc_pins>, <&emmc_ds_pins>;
	pinctrl-1 = <&emmc_clk_gate_pins>;
	pinctrl-names = "default", "clk-gate";

	bus-width = <8>;
	cap-mmc-highspeed;
	mmc-ddr-1_8v;
	mmc-hs200-1_8v;
	mmc-hs400-1_8v;
	//mmc-hs400-enhanced-strobe;
	max-frequency = <200000000>;
	non-removable;
	disable-wp;
	init_core_phase = <2>;
//	mmc-pwrseq = <&emmc_pwrseq>;
//	vmmc-supply = <&sdcard_3v3>;
//	vqmmc-supply = <&vddio_c>;
};

&i2c2 {
	status = "okay";
	clock-frequency = <100000>;
	pinctrl-names="default";
	pinctrl-0=<&i2c2_pins3>;

	lcd_extern_i2c0: lcd_extern_i2c@29 {
		compatible = "lcd_ext, i2c";
		dev_name = "i2c_HV650LS";
		reg = <0x29>;
		status = "okay";
	};

	lcd_extern_i2c1: lcd_extern_i2c@33 {
		compatible = "lcd_ext, i2c";
		dev_name = "i2c_CS602";
		reg = <0x33>;
		status = "okay";
	};

	lcd_extern_i2c2: lcd_extern_i2c@20 {
		compatible = "lcd_ext, i2c";
		dev_name = "i2c_CS901";
		reg = <0x20>;
		status = "okay";
	};
};

&saradc {
	status = "okay";
};

&ethmac {
	status = "okay";
	phy-handle = <&internal_ephy>;
	phy-mode = "rmii";
};

&uart_A {
	status = "disabled";
};

&ir {
	status = "okay";
	pinctrl-0 = <&remote_pins>;
	pinctrl-names = "default";
};

&spifc {
	status = "disabled";
	spi-nor@0 {
		status = "disabled";
	};
};

&spicc0 {	//for TCON
	status = "disabled";
	pinctrl-names = "default";
	pinctrl-0 = <&spicc0_pins_h>;
};

&spicc1 {	//for UWB/LocalDimm
	status = "okay";
	pinctrl-names = "default";
	pinctrl-0 = <&spicc1_pins_h>;
};

&spicc2 {
	status = "disabled";
	pinctrl-names = "default";
	pinctrl-0 = <&spicc2_pins_c>;
};

&fb {
	status = "disabled";
	display_size_default = <3840 2160 3840 4320 32>;
	mem_size = <0x00800000 0x4000000 0x100000>;
	4k2k_fb = <1>;
	logo_addr = "0xdf800000";
	mem_alloc = <0>;
	pxp_mode = <0>; /** 0:normal mode 1:pxp mode */
};

&drm_vpu {
	status = "okay";
	logo_addr = "0xdf800000";

	connectors_dev: port@1 {
		drm_to_lcd0: endpoint@0 {
			reg = <0>;
			remote-endpoint = <&lcd0_to_drm>;
		};
	};
	connectors_dev: port@1 {
		drm_to_lcd1: endpoint@1 {
			reg = <1>;
			remote-endpoint = <&lcd1_to_drm>;
		};
	};
};

&lcd {
	ports {
		port {
			#address-cells = <1>;
			#size-cells = <0>;
			lcd0_to_drm: endpoint@0 {
				reg = <0>;
				remote-endpoint = <&drm_to_lcd0>;
			};
		};
	};
};

&ambilight {
	status = "okay";
	zone_h_v = <32 20>;
};

&amhdmitx {
	status = "disabled";
	pxp_mode = <1>; /* run on pxp */
};

&amvideom {
	display_device_cnt = <2>;
	vpp0_layer_count = <2>;
	/* number of video layer display on vpp1 */
	vpp1_layer_count = <1>;
};

/*if you want to use vdin just modify status to "ok"*/
&vdin0 {
	/*memory-region = <&vdin0_cma_reserved>;*/
	status = "okay";
	/*MByte, if 10bit disable: 64M(YUV422),
	 *if 10bit enable: 64*1.5 = 96M(YUV422)
	 *if support 4K2K-YUV444-10bit-WR:3840*2160*4*4 ~= 128M
	 *if support 4K2K-YUV422-10bit-wr:3840*2160*3*4 ~= 96M
	 *if support 4K2K-YUV422-8BIT-WR:3840*2160*2*4 ~= 64M
	 *if support 1080p-YUV422-8BIT-WR:1920*1080*2*4 ~= 16M
	 * onebuffer:
	 * worst case:(4096*2160*3 + 2M(afbce issue)) = 27.5M
	 * dw:960x540x3 = 1.5M
	 * total size:(27.5+1.5)x buffernumber
	 */
	cma_size = <300>;
	frame_buff_num = <11>;
};

&vdin1 {
	/*memory-region = <&vdin0_cma_reserved>;*/
	status = "okay";
	/*MByte, if 10bit disable: 64M(YUV422),
	 *if 10bit enable: 64*1.5 = 96M(YUV422)
	 *if support 4K2K-YUV444-10bit-WR:3840*2160*4*4 ~= 128M
	 *if support 4K2K-YUV422-10bit-wr:3840*2160*3*4 ~= 96M
	 *if support 4K2K-YUV422-8BIT-WR:3840*2160*2*4 ~= 64M
	 *if support 1080p-YUV422-8BIT-WR:1920*1080*2*4 ~= 16M
	 * onebuffer:
	 * worst case:(4096*2160*3 + 2M(afbce issue)) = 27.5M
	 * dw:960x540x3 = 1.5M
	 * total size:(27.5+1.5)x buffernumber
	 */
	cma_size = <300>;
	frame_buff_num = <10>;
};

&vdin2 {
	memory-region = <&vdin1_cma_reserved>;
	status = "okay";
};

&periphs_pinctrl {
	pdmin: pdmin {
		mux { /* GPIOH_19, GPIOH_18,GPIOH_14*/
			groups = "pdm_dclk_h19",
					"pdm_din0_h18",
					"pdm_din1_h14";
			function = "pdm";
		};
	};
	tdm_b_pins: tdm_b_pin {
		mux { /* GPIOH15, GPIOH_16, GPIOH_17 */
			groups = "tdm_fs1_h15",
				"tdm_sclk1_h",
				"tdm_d0_h";
			function = "tdm";
		};
	};
	tdmout_a_gpio: tdmout_a_gpio {
		mux { /* GPIOH_15, GPIOH_16, GPIOH_17 */
			groups ="GPIOH_15",
				"GPIOH_16",
				"GPIOH_17";
			function = "gpio_periphs";
			output-low;
		};
	};

	dvb_p_ts1_pins: dvb_p_ts1_pins {
		tsin_b {
			groups = "tsin_b_sop",
				   "tsin_b_valid",
				   "tsin_b_clk",
				   "tsin_b_d0",
				   "tsin_b_d1",
				   "tsin_b_d2",
				   "tsin_b_d3",
				   "tsin_b_d4",
				   "tsin_b_d5",
				   "tsin_b_d6",
				   "tsin_b_d7";
			function = "tsin_b";
		};
	};

	dvb_p_ts2_pins: dvb_p_ts2_pins {
		tsin_c {
			groups =   "tsin_c_sop_c",
				   "tsin_c_valid_c",
				   "tsin_c_clk_c",
				   "tsin_c_d0_c";
			function = "tsin_c";
		};
	};

	dvb_ci_bus_pins_all: dvb_ci_bus_pins_all {
		mux {
			groups = "cicam_cen", "cicam_oen",
				"cicam_wen", "cicam_iordn",
				"cicam_iowrn", "cicam_reset",
				"cicam_a0", "cicam_a1", "cicam_a2_c",
				"cicam_a3_c", "cicam_a4_c", "cicam_a5_c",
				"cicam_a6_c", "cicam_a7_c", "cicam_a8_c",
				"cicam_a9_c", "cicam_a10_c", "cicam_a11_c",
				"cicam_data0", "cicam_data1", "cicam_data2",
				"cicam_data3", "cicam_data4", "cicam_data5",
				"cicam_data6", "cicam_data7";
			function = "cicam";
		};
	};

	ci_ts_pins: ci_ts_pins {
		mux {
			groups = "tsout_sop", "tsout_valid",
				"tsout_d0", "tsout_d1", "tsout_d2",
				"tsout_d3", "tsout_d4", "tsout_d5",
				"tsout_d6", "tsout_d7";
			function = "tsout";
		};
	};

	ci_ts_clk_pins: ci_ts_clk_pins {
		mux {
			groups = "tsout_clk";
			function = "tsout";
		};

	};

	/*backlight*/
	bl_pwm_vs_on_pins:bl_pwm_vs_on_pin {
		mux {
			groups = "pwm_vs_h12";
			function = "pwm_vs";
		};
	};
	bl_pwm_off_pins:bl_pwm_off_pin {
		mux {
			groups = "GPIOH_12";
			function = "gpio_periphs";
			output-low;
		};
	};
	ST6451D06_3_pins: ST6451D06_3_pin {
		mux {
			groups = "tcon_1","tcon_2","tcon_3",
				"tcon_4","tcon_5","tcon_6",
				"tcon_9","tcon_10","tcon_11",
				"tcon_14", "tcon_lock";
			function = "tcon";
		};
	};
	ST6451D06_3_off_pins: ST6451D06_3_off_pin {
		mux {
			groups = "GPIOH_1","GPIOH_2","GPIOH_3",
				"GPIOH_4","GPIOH_5","GPIOH_6",
				"GPIOH_9","GPIOH_10","GPIOH_11",
				"GPIOH_14", "GPIOH_0";
				function = "gpio_periphs";
			input-enable;
		};
	};
	ST5461D18_2_pins: ST5461D18_2_pin {
		mux {
			groups = "tcon_1","tcon_2","tcon_3",
				"tcon_4","tcon_5","tcon_6",
				"tcon_9","tcon_10","tcon_11",
				"tcon_14","tcon_lock";
			function = "tcon";
		};
	};
	ST5461D18_2_off_pins: ST5461D18_2_off_pin {
		mux {
			groups = "GPIOH_1","GPIOH_2","GPIOH_3",
				"GPIOH_4","GPIOH_5","GPIOH_6",
				"GPIOH_9","GPIOH_10","GPIOH_11",
				"GPIOH_14","GPIOH_0";
				function = "gpio_periphs";
			input-enable;
		};
	};
};

&pinctrl_audio {
	tdm_d0_pins: tdm_d0_pin {
		mux {
			groups = "tdm_d0";
			function = "tdmoutb_lane0";
		};
	};
	tdmb_clk_pins: tdmb_clk_pin {
		mux {
			groups = "tdm_sclk0", "tdm_lrclk0";
			function = "tdm_clk_outb";
		};
	};
};

&i2c0 {
	status = "okay";
	clock-frequency = <300000>;
	pinctrl-names="default";
	pinctrl-0=<&i2c0_pins1>;
};

&amlvecm {
	status = "okay";
	gamma_en = <0>;/*1:enable ;0:disable*/
	wb_en = <0>;/*1:enable ;0:disable*/
	cm_en = <0>;/*1:enable ;0:disable*/
	wb_sel = <0>;/*1:mtx ;0:gainoff*/
	vlock_en = <1>;/*1:enable;0:disable*/
	vlock_mode = <0x8>;
	/*vlock work mode:
	 *bit0:auto ENC
	 *bit1:auto PLL
	 *bit2:manual PLL
	 *bit3:manual ENC
	 *bit4:manual soft ENC
	 *bit5:manual MIX PLL ENC
	 */
	 vlock_pll_m_limit = <1>;
	 vlock_line_limit = <2>;
	 interrupts = <0 103 1>;
	 interrupt-names = "lc_curve";
};

&aml_wifi{
	status = "okay";
	//interrupt-gpios = <&gpio  GPIOX_7  GPIO_ACTIVE_HIGH>;
	power_on-gpios = <&gpio   GPIOD_11  GPIO_ACTIVE_HIGH>;
};

&aml_bt {
	status = "okay";
	reset-gpios = <&gpio    GPIOD_13 GPIO_ACTIVE_HIGH>;
	/*hostwake-gpios = <&gpio GPIOX_19 GPIO_ACTIVE_HIGH>;*/
};

&irblaster {
	status = "disabled";
};

&uart_B {
	status = "okay";
};

&vddcpua {
	status = "okay";
};

&vddcpub {
	status = "okay";
};

&pwm_cd {
	status = "okay";
};

&dmx_aucpu {
	status = "okay";
};
